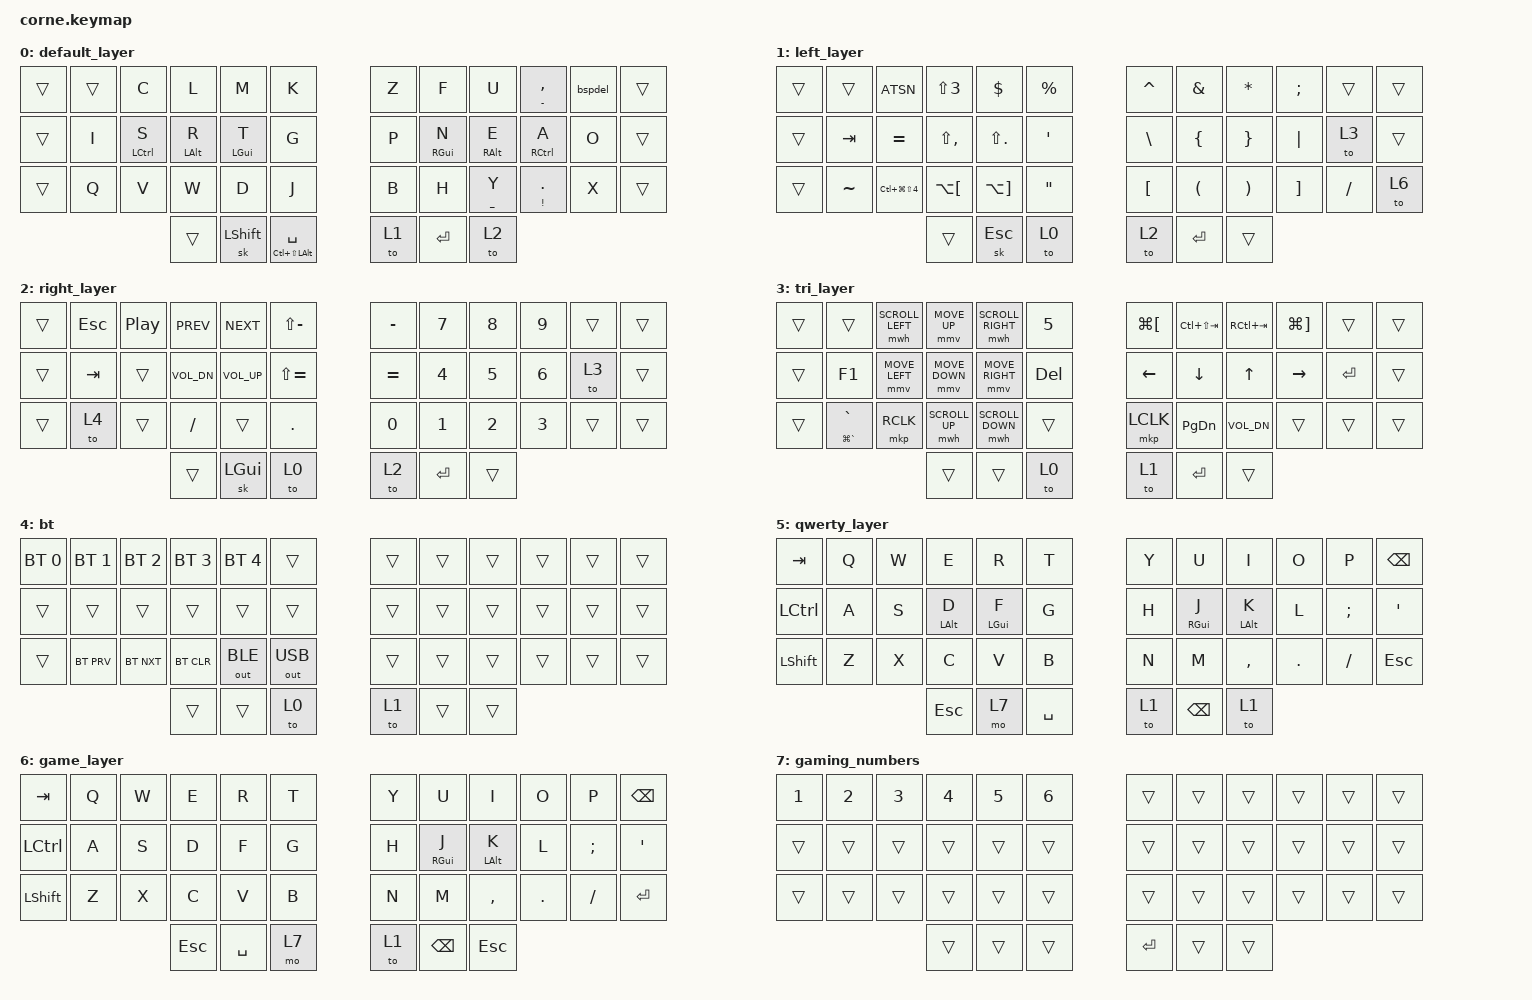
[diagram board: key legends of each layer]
/*
 * Copyright (c) 2020 The ZMK Contributors
 *
 * SPDX-License-Identifier: MIT
 */

#include <behaviors.dtsi>
#include <dt-bindings/zmk/keys.h>
#include <dt-bindings/zmk/bt.h>
#include <dt-bindings/zmk/mouse.h>
#include <dt-bindings/zmk/outputs.h>


&mt {
    flavor = "tap-preferred";
    tapping_term_ms = <200>;
};

&mmv {
   time-to-max-speed-ms = <680>;
   acceleration-exponent=<1>;
};
/ { 


    behaviors {
		bspdel: backspace_del {
            compatible = "zmk,behavior-mod-morph";
            label = "BACKSPACE_DELETE";
            #binding-cells = <0>;
            bindings = <&kp BKSP>, <&kp DEL>;
            mods = <(MOD_LSFT|MOD_RSFT)>;
        };
        hm: homerow_mods {
            compatible = "zmk,behavior-hold-tap";
            label = "HOMEROW_MODS";
            #binding-cells = <2>;
            tapping-term-ms = <200>;
            quick_tap_ms = <0>;
            flavor = "tap-preferred";
            bindings = <&kp>, <&kp>;
        };
	td: tapdance {
            compatible = "zmk,behavior-hold-tap";
            label = "TAPDANCE";
            #binding-cells = <2>;
            tapping-term-ms = <150>;
            quick_tap_ms = <0>;
            flavor = "tap-preferred";
            bindings = <&kp>, <&kp>;
        };
    };

        keymap {
                compatible = "zmk,keymap";
        
		default_layer {

		bindings = <
		&trans 				&trans				&kp C				&kp L				&kp M				&kp K 					&kp Z				&kp F				&kp U				&td MINUS COMMA		&bspdel				&trans
		&trans 				&kp I				&mt LCTRL S			&hm LALT R			&hm LGUI T			&kp G					&kp P				&hm RGUI N			&hm RALT E			&mt RCTRL A			&kp O				&trans
		&trans 				&kp Q				&kp V				&kp W				&kp D				&kp J					&kp B				&kp H				&td UNDERSCORE Y	&td EXCL DOT		&kp X				&trans
          															&trans				&sk LSHIFT			&mt LC(LS(LALT)) SPC	&to 1				&kp ENTER			&to 2 
		>;
		};

       		left_layer {
		bindings = <
		&trans				&trans				&kp ATSN			&kp LS(N3)			&kp DLLR			&kp PRCNT				&kp CARET			&kp AMPS			&kp STAR			&kp SEMI 			&trans 			&trans
		&trans				&kp TAB				&kp EQUAL			&kp LS(COMMA)		&kp LS(DOT)			&kp SQT					&kp BSLH			&kp LBRC			&kp RBRC			&kp PIPE			&to 3				&trans
		&trans				&kp TILDE			&kp LC(LG(LS(N4)))	&kp LA(LBKT)		&kp LA(RBKT)		&kp DQT					&kp LBKT			&kp LPRN			&kp RPRN			&kp RBKT			&kp SLASH			&to 6
					    											&trans				&sk ESC				&to 0					&to 2				&kp ENTER			&trans
		>;
		};
		
		right_layer {
		bindings = <
		&trans				&kp ESC				&kp C_PP			&kp C_PREV			&kp C_NEXT			&kp LS(MINUS)			&kp MINUS  			&kp N7				&kp N8				&kp N9				&trans				&trans
		&trans				&kp TAB				&trans				&kp C_VOL_DN		&kp C_VOL_UP		&kp LS(EQUAL)			&kp EQUAL			&kp N4				&kp N5				&kp N6				&to 3				&trans
		&trans				&to 4				&trans				&kp SLASH			&trans				&kp DOT					&kp N0				&kp N1				&kp N2				&kp N3				&trans				&trans
					  												&trans				&sk LGUI			&to 0					&to 2				&kp ENTER			&trans
		>;
		};
		
		tri_layer {
		bindings = <
		&trans				&trans				&mwh SCROLL_LEFT	&mmv MOVE_UP		&mwh SCROLL_RIGHT	&kp NUM_5				&kp LG(LBKT)		&kp LC(LS(TAB))		&kp RC(TAB)			&kp LG(RBKT)		&trans				&trans
		&trans				&kp F1				&mmv MOVE_LEFT		&mmv MOVE_DOWN		&mmv MOVE_RIGHT		&kp DEL					&kp LEFT			&kp DOWN			&kp UP				&kp RIGHT			&kp ENTER			&trans
		&trans				&td LG(GRAVE) GRAVE &mkp RCLK			&mwh SCROLL_UP		&mwh SCROLL_DOWN	&trans   				&mkp LCLK			&kp PG_DN			&kp K_VOL_DN		&trans				&trans				&trans
																	&trans				&trans				&to 0  					&to 1				&kp ENTER			&trans
					
		//&trans &trans  &trans    &trans    &trans    &kp NUM_5 			&kp LG(LBKT)   &kp LC(LS(TAB))   &kp RC(TAB) &kp LG(RBKT) &trans &trans
		//&trans &kp F1 &trans &trans &trans &kp DEL  						&kp LEFT &kp DOWN  &kp UP &kp RIGHT &trans &trans
		//&trans &td LG(GRAVE) GRAVE &trans  &trans &trans &trans   				&trans &kp PG_DN  &kp K_VOL_DN  &trans &trans   &trans

		>;
		};	
		bt {
		bindings = <
		&bt BT_SEL 0		&bt BT_SEL 1		&bt BT_SEL 2		&bt BT_SEL 3		&bt BT_SEL 4		&trans					&trans				&trans				&trans				&trans				&trans				&trans
		&trans				&trans				&trans				&trans				&trans				&trans 					&trans				&trans				&trans				&trans				&trans				&trans
		&trans				&bt BT_PRV			&bt BT_NXT			&bt BT_CLR			&out OUT_BLE		&out OUT_USB  			&trans				&trans				&trans				&trans				&trans				&trans
																	&trans				&trans				&to 0  					&to 1				&trans				&trans
		>;
		};

				qwerty_layer {
                        bindings = <
    	&kp TAB     &kp Q           &kp W           &kp E               &kp R           &kp T           &kp Y           &kp U               &kp I           &kp O           &kp P                   &kp BSPC
    	&kp LCTRL   &kp A           &kp S           &mt LALT D          &mt LGUI F      &kp G           &kp H           &mt RGUI J          &mt LALT K      &kp L           &kp SEMICOLON           &kp SQT
    	&kp LSHFT   &kp Z           &kp X           &kp C               &kp V           &kp B           &kp N           &kp M               &kp COMMA       &kp DOT         &kp SLASH               &kp ESCAPE
                                                    &kp ESC             &mo 7           &kp SPACE       &to 1           &kp BACKSPACE       &to 1
                        >;
                };

		game_layer {
                        bindings = <
		&kp TAB     &kp Q           &kp W           &kp E               &kp R           &kp T           &kp Y           &kp U               &kp I           &kp O           &kp P                   &kp BSPC
    	&kp LCTRL   &kp A           &kp S           &kp D               &kp F           &kp G           &kp H           &mt RGUI J          &mt LALT K      &kp L           &kp SEMICOLON           &kp SQT
    	&kp LSHFT   &kp Z           &kp X           &kp C               &kp V           &kp B           &kp N           &kp M               &kp COMMA       &kp DOT         &kp SLASH               &kp ENTER
                                                    &kp ESC             &kp SPACE       &mo 7           &to 1           &kp BKSP      		&kp ESC
                        >;
                };

		gaming_numbers {
		bindings = <
		&kp NUMBER_1 &kp NUMBER_2       &kp NUMBER_3        &kp NUMBER_4    &kp NUMBER_5    &kp NUMBER_6 &trans &trans &trans &trans &trans &trans
		&trans &trans  &trans &trans &trans &trans &trans &trans &trans &trans &trans &trans
		&trans &trans  &trans &trans &trans &trans &trans &trans &trans &trans &trans &trans
					 &trans &trans &trans  					&kp ENTER &trans &trans
		>;
		};
        
	};
};
